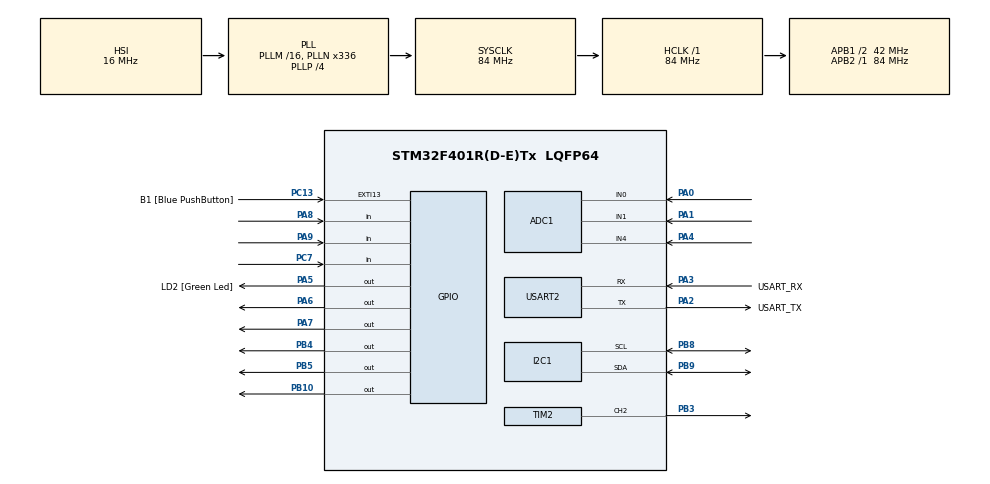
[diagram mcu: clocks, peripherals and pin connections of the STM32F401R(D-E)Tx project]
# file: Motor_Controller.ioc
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ADC1.Channel-0\#ChannelRegularConversion=ADC_CHANNEL_0
ADC1.NbrOfConversionFlag=1
ADC1.Rank-0\#ChannelRegularConversion=1
ADC1.SamplingTime-0\#ChannelRegularConversion=ADC_SAMPLETIME_84CYCLES
ADC1.master=1
Mcu.Family=STM32F4
Mcu.Name=STM32F401R(D-E)Tx
Mcu.Package=LQFP64
NVIC.PriorityGroup=NVIC_PRIORITYGROUP_4
PA0-WKUP.Signal=ADCx_IN0
PA1.Signal=ADCx_IN1
PA13.GPIO_Label=TMS
PA13.Mode=Serial_Wire
PA13.Signal=SYS_JTMS-SWDIO
PA14.GPIO_Label=TCK
PA14.Mode=Serial_Wire
PA14.Signal=SYS_JTCK-SWCLK
PA2.GPIO_Label=USART_TX
PA2.GPIO_Mode=GPIO_MODE_AF_PP
PA2.GPIO_PuPd=GPIO_NOPULL
PA2.GPIO_Speed=GPIO_SPEED_FREQ_LOW
PA2.Mode=Asynchronous
PA2.Signal=USART2_TX
PA3.GPIO_Label=USART_RX
PA3.GPIO_Mode=GPIO_MODE_AF_PP
PA3.GPIO_PuPd=GPIO_NOPULL
PA3.GPIO_Speed=GPIO_SPEED_FREQ_LOW
PA3.Mode=Asynchronous
PA3.Signal=USART2_RX
PA4.Signal=ADCx_IN4
PA5.GPIO_Label=LD2 [Green Led]
PA5.GPIO_Mode=GPIO_MODE_OUTPUT_PP
PA5.GPIO_PuPd=GPIO_NOPULL
PA5.GPIO_Speed=GPIO_SPEED_FREQ_LOW
PA5.Signal=GPIO_Output
PA6.Signal=GPIO_Output
PA7.Signal=GPIO_Output
PA8.GPIO_PuPd=GPIO_PULLUP
PA8.Signal=GPIO_Input
PA9.GPIO_PuPd=GPIO_PULLUP
PA9.Signal=GPIO_Input
PB10.Signal=GPIO_Output
PB3.Signal=S_TIM2_CH2
PB4.Signal=GPIO_Output
PB5.Signal=GPIO_Output
PB8.GPIO_Pu=GPIO_PULLUP
PB8.Mode=I2C
PB8.Signal=I2C1_SCL
PB9.GPIO_Pu=GPIO_PULLUP
PB9.Mode=I2C
PB9.Signal=I2C1_SDA
PC13-ANTI_TAMP.GPIO_Label=B1 [Blue PushButton]
PC13-ANTI_TAMP.GPIO_ModeDefaultEXTI=GPIO_MODE_IT_FALLING
PC13-ANTI_TAMP.GPIO_PuPd=GPIO_NOPULL
PC13-ANTI_TAMP.Signal=GPXTI13
PC14-OSC32_IN.Mode=LSE-External-Oscillator
PC14-OSC32_IN.Signal=RCC_OSC32_IN
PC15-OSC32_OUT.Mode=LSE-External-Oscillator
PC15-OSC32_OUT.Signal=RCC_OSC32_OUT
PC7.GPIO_PuPd=GPIO_PULLUP
PC7.Signal=GPIO_Input
PH0\ -\ OSC_IN.Mode=HSE-External-Clock-Source
PH0\ -\ OSC_IN.Signal=RCC_OSC_IN
PH1\ -\ OSC_OUT.Mode=HSE-External-Clock-Source
PH1\ -\ OSC_OUT.Signal=RCC_OSC_OUT
ProjectManager.HeapSize=0x200
ProjectManager.StackSize=0x400
ProjectManager.TargetToolchain=STM32CubeIDE
RCC.48MHZClocksFreq_Value=48000000
RCC.AHBFreq_Value=84000000
RCC.APB1CLKDivider=RCC_HCLK_DIV2
RCC.APB1Freq_Value=42000000
RCC.APB1TimFreq_Value=84000000
RCC.APB2Freq_Value=84000000
RCC.APB2TimFreq_Value=84000000
RCC.CortexFreq_Value=84000000
RCC.HCLKFreq_Value=84000000
RCC.HSE_VALUE=8000000
RCC.HSI_VALUE=16000000
RCC.PLLN=336
RCC.PLLP=RCC_PLLP_DIV4
RCC.PLLQ=7
RCC.SYSCLKFreq_VALUE=84000000
RCC.SYSCLKSource=RCC_SYSCLKSOURCE_PLLCLK
RCC.VCOOutputFreq_Value=336000000
SH.ADCx_IN0.0=ADC1_IN0,IN0
SH.ADCx_IN1.0=ADC1_IN1,IN1
SH.ADCx_IN4.0=ADC1_IN4,IN4
SH.S_TIM2_CH2.0=TIM2_CH2,PWM Generation2 CH2
TIM2.Channel-PWM\ Generation2\ CH2=TIM_CHANNEL_2
TIM2.Period=99
TIM2.Prescaler=83
USART2.VirtualMode=VM_ASYNC
board=NUCLEO-F401RE

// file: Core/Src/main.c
/* USER CODE BEGIN Header */
/**
  ******************************************************************************
  * @file           : main.c
  * @brief          : Main program body
  ******************************************************************************
  * @attention
  *
  * Copyright (c) 2026 STMicroelectronics.
  * All rights reserved.
  *
  * This software is licensed under terms that can be found in the LICENSE file
  * in the root directory of this software component.
  * If no LICENSE file comes with this software, it is provided AS-IS.
  *
  ******************************************************************************
  */
/* USER CODE END Header */
#include "main.h"

/* USER CODE BEGIN Includes */
#include <stdio.h>
#include <math.h>
#include "font5x7.h"
/* USER CODE END Includes */

ADC_HandleTypeDef hadc1;

I2C_HandleTypeDef hi2c1;

TIM_HandleTypeDef htim2;

UART_HandleTypeDef huart2;

/* USER CODE BEGIN PV */
char uart_buf[150];

uint8_t motor_run = 0;
uint8_t motor_reverse = 0;  // 0 = вперед, 1 = назад

GPIO_PinState old_run_button  = GPIO_PIN_SET;
GPIO_PinState old_stop_button = GPIO_PIN_SET;
GPIO_PinState old_dir_button = GPIO_PIN_SET;

/* USER CODE END PV */

void SystemClock_Config(void);
static void MX_GPIO_Init(void);
static void MX_I2C1_Init(void);
static void MX_USART2_UART_Init(void);
static void MX_ADC1_Init(void);
static void MX_TIM2_Init(void);

/* USER CODE BEGIN 0 */
#define OLED_ADDR (0x3C << 1)

#define POT_ADC_MIN 0
#define POT_ADC_MAX 4095

/* ============================================
   OLED
   ============================================ */

void OLED_Command(uint8_t cmd)
{
    uint8_t data[2];

    data[0] = 0x00;
    data[1] = cmd;

    HAL_I2C_Master_Transmit(&hi2c1,
                            OLED_ADDR,
                            data,
                            2,
                            HAL_MAX_DELAY);
}

void OLED_Init(void)
{
    HAL_Delay(100);

    OLED_Command(0xAE);

    OLED_Command(0xD5);
    OLED_Command(0x80);

    OLED_Command(0xA8);
    OLED_Command(0x3F);

    OLED_Command(0xD3);
    OLED_Command(0x00);

    OLED_Command(0x40);

    OLED_Command(0x8D);
    OLED_Command(0x14);

    /* Page addressing mode */
    OLED_Command(0x20);
    OLED_Command(0x02);

    OLED_Command(0xA1);
    OLED_Command(0xC8);

    OLED_Command(0xDA);
    OLED_Command(0x12);

    OLED_Command(0x81);
    OLED_Command(0xCF);

    OLED_Command(0xD9);
    OLED_Command(0xF1);

    OLED_Command(0xDB);
    OLED_Command(0x40);

    OLED_Command(0xA4);
    OLED_Command(0xA6);

    OLED_Command(0xAF);

    HAL_Delay(100);
}

void OLED_SetCursor(uint8_t x, uint8_t page)
{
    OLED_Command(0xB0 + page);

    OLED_Command(0x00 + (x & 0x0F));
    OLED_Command(0x10 + ((x >> 4) & 0x0F));
}

void OLED_Clear(void)
{
    uint8_t data[129];

    data[0] = 0x40;

    for (int i = 1; i < 129; i++)
    {
        data[i] = 0x00;
    }

    for (uint8_t page = 0; page < 8; page++)
    {
        OLED_SetCursor(0, page);

        HAL_I2C_Master_Transmit(&hi2c1,
                                OLED_ADDR,
                                data,
                                129,
                                HAL_MAX_DELAY);
    }
}

void OLED_WriteChar(char c)
{
    if (c < 32 || c > 126)
    {
        c = '?';
    }

    uint8_t index = (uint8_t)c - 32;

    uint8_t data[7];

    data[0] = 0x40;

    for (uint8_t i = 0; i < 5; i++)
    {
        data[i + 1] = font5x7[index][i];
    }

    data[6] = 0x00;

    HAL_I2C_Master_Transmit(&hi2c1,
                            OLED_ADDR,
                            data,
                            7,
                            HAL_MAX_DELAY);
}

void OLED_WriteString(const char *str)
{
    while (*str)
    {
        OLED_WriteChar(*str);
        str++;
    }
}

/* ============================================
   ADC
   ============================================ */

uint32_t Read_ADC_Channel(uint32_t channel)
{
    ADC_ChannelConfTypeDef sConfig = {0};

    sConfig.Channel = channel;
    sConfig.Rank = 1;
    sConfig.SamplingTime = ADC_SAMPLETIME_84CYCLES;

    HAL_ADC_ConfigChannel(&hadc1, &sConfig);

    HAL_ADC_Start(&hadc1);

    HAL_ADC_PollForConversion(&hadc1,
                              HAL_MAX_DELAY);

    uint32_t value = HAL_ADC_GetValue(&hadc1);

    HAL_ADC_Stop(&hadc1);

    return value;
}

/* ============================================
   NTC
   ============================================ */

float NTC_GetTemperature(uint32_t adc)
{
    if (adc == 0 || adc >= 4095)
    {
        return -100.0f;
    }

    const float R_FIXED = 10000.0f;
    const float R0 = 10000.0f;
    const float BETA = 3950.0f;
    const float T0 = 25.0f + 273.15f;

    float r_ntc =
        R_FIXED *
        ((float)adc /
        (4095.0f - (float)adc));

    float temp_k =
        1.0f /
        ((1.0f / T0) +
         (1.0f / BETA) *
         logf(r_ntc / R0));

    return temp_k - 273.15f;
}

/* ============================================
   POT 0...100 %
   ============================================ */

uint32_t PotToPercent(uint32_t adc)
{
    if (adc <= POT_ADC_MIN)
    {
        return 0;
    }

    if (adc >= POT_ADC_MAX)
    {
        return 100;
    }

    return ((adc - POT_ADC_MIN) * 100UL) /
           (POT_ADC_MAX - POT_ADC_MIN);
}

/* USER CODE END 0 */

int main(void)
{

  /* USER CODE BEGIN 1 */
	uint32_t Read_ADC_Channel(uint32_t channel)
	{
	    ADC_ChannelConfTypeDef sConfig = {0};

	    sConfig.Channel = channel;
	    sConfig.Rank = 1;
	    sConfig.SamplingTime = ADC_SAMPLETIME_84CYCLES;

	    HAL_ADC_ConfigChannel(&hadc1, &sConfig);

	    HAL_ADC_Start(&hadc1);
	    HAL_ADC_PollForConversion(&hadc1, HAL_MAX_DELAY);

	    uint32_t value = HAL_ADC_GetValue(&hadc1);

	    HAL_ADC_Stop(&hadc1);

	    return value;
	}
	float NTC_GetTemperature(uint32_t adc)
	{
	    if (adc == 0 || adc >= 4095)
	        return -100.0f;

	    const float R_FIXED = 10000.0f;
	    const float R0 = 10000.0f;
	    const float BETA = 3950.0f;
	    const float T0 = 25.0f + 273.15f;

	    float r_ntc = R_FIXED * ((float)adc / (4095.0f - (float)adc));

	    float temp_k = 1.0f /
	        ((1.0f / T0) + (1.0f / BETA) * logf(r_ntc / R0));

	    return temp_k - 273.15f;
	}
  /* USER CODE END 1 */

  /* MCU Configuration--------------------------------------------------------*/

  /* Reset of all peripherals, Initializes the Flash interface and the Systick. */
  HAL_Init();

  /* Configure the system clock */
  SystemClock_Config();

  /* Initialize all configured peripherals */
  MX_GPIO_Init();
  MX_I2C1_Init();
  MX_USART2_UART_Init();
  MX_ADC1_Init();
  MX_TIM2_Init();
  /* USER CODE BEGIN 2 */
  /* USER CODE BEGIN 2 */
  OLED_Init();
  OLED_Clear();

  motor_run = 0;
  motor_reverse = 0;
  /* LED: стартуем в STOP */
  HAL_GPIO_WritePin(GPIOB, GPIO_PIN_5,  GPIO_PIN_RESET); // GREEN OFF
  HAL_GPIO_WritePin(GPIOB, GPIO_PIN_4,  GPIO_PIN_RESET); // YELLOW OFF
  HAL_GPIO_WritePin(GPIOB, GPIO_PIN_10, GPIO_PIN_SET);   // RED ON

  /* L298N: мотор остановлен */
  HAL_GPIO_WritePin(GPIOA, GPIO_PIN_7, GPIO_PIN_RESET);  // IN3
  HAL_GPIO_WritePin(GPIOA, GPIO_PIN_6, GPIO_PIN_RESET);  // IN4

  /* Запускаем PWM D3 / PB3 / TIM2_CH2 */
  HAL_TIM_PWM_Start(&htim2, TIM_CHANNEL_2);

  __HAL_TIM_SET_COMPARE(&htim2, TIM_CHANNEL_2, 0);

  /* USER CODE END 2 */

  /* Infinite loop */
  /* USER CODE BEGIN WHILE */
  while (1)
  {
	  /* =========================
	         BUTTONS
	         ========================= */

	      GPIO_PinState run_button =
	          HAL_GPIO_ReadPin(GPIOA, GPIO_PIN_8);   // D7

	      GPIO_PinState stop_button =
	          HAL_GPIO_ReadPin(GPIOA, GPIO_PIN_9);   // D8

	      GPIO_PinState dir_button =
	          HAL_GPIO_ReadPin(GPIOC, GPIO_PIN_7);   // D9

	      /* =========================
	         RUN
	         ========================= */

	      if ((run_button == GPIO_PIN_RESET) &&
	          (old_run_button == GPIO_PIN_SET))
	      {
	          motor_run = 1;

	          HAL_Delay(30);
	      }

	      /* =========================
	         STOP
	         ========================= */

	      if ((stop_button == GPIO_PIN_RESET) &&
	          (old_stop_button == GPIO_PIN_SET))
	      {
	          motor_run = 0;

	          HAL_Delay(30);
	      }

	      /* =========================
	         DIRECTION
	         ========================= */

	      if ((dir_button == GPIO_PIN_RESET) &&
	          (old_dir_button == GPIO_PIN_SET))
	      {
	          /*
	           * Сначала убираем PWM,
	           * чтобы не менять направление
	           * на полном ходу.
	           */
	          __HAL_TIM_SET_COMPARE(&htim2,
	                                TIM_CHANNEL_2,
	                                0);

	          HAL_Delay(150);

	          motor_reverse =
	              !motor_reverse;
	      }

	      old_run_button  = run_button;
	      old_stop_button = stop_button;
	      old_dir_button  = dir_button;

	      /* =========================
	         ADC
	         ========================= */

	      uint32_t pot_adc =
	          Read_ADC_Channel(ADC_CHANNEL_0);

	      uint32_t ntc1_adc =
	          Read_ADC_Channel(ADC_CHANNEL_1);

	      uint32_t ntc2_adc =
	          Read_ADC_Channel(ADC_CHANNEL_4);

	      /* =========================
	         POT 0...100 %
	         ========================= */

	      uint32_t set_percent =
	          PotToPercent(pot_adc);

	      /* TIM2 Period = 99 */
	      uint32_t pwm_value =
	          (set_percent * 99UL) / 100UL;

	      /* =========================
	         TEMPERATURE
	         ========================= */

	      float temp1 =
	          NTC_GetTemperature(ntc1_adc);

	      float temp2 =
	          NTC_GetTemperature(ntc2_adc);

	      /* =========================
	         MOTOR CONTROL
	         ========================= */

	      if (motor_run && set_percent > 0)
	      {
	          if (motor_reverse == 0)
	          {
	              /* FORWARD */

	              HAL_GPIO_WritePin(GPIOA,
	                                GPIO_PIN_7,
	                                GPIO_PIN_SET);    // IN3 = 1

	              HAL_GPIO_WritePin(GPIOA,
	                                GPIO_PIN_6,
	                                GPIO_PIN_RESET);  // IN4 = 0
	          }
	          else
	          {
	              /* REVERSE */

	              HAL_GPIO_WritePin(GPIOA,
	                                GPIO_PIN_7,
	                                GPIO_PIN_RESET);  // IN3 = 0

	              HAL_GPIO_WritePin(GPIOA,
	                                GPIO_PIN_6,
	                                GPIO_PIN_SET);    // IN4 = 1
	          }

	          __HAL_TIM_SET_COMPARE(&htim2,
	                                TIM_CHANNEL_2,
	                                pwm_value);
	      }
	      else
	      {
	          /* STOP */

	          __HAL_TIM_SET_COMPARE(&htim2,
	                                TIM_CHANNEL_2,
	                                0);

	          HAL_GPIO_WritePin(GPIOA,
	                            GPIO_PIN_7,
	                            GPIO_PIN_RESET);

	          HAL_GPIO_WritePin(GPIOA,
	                            GPIO_PIN_6,
	                            GPIO_PIN_RESET);
	      }

	      /* =========================
	         LED
	         ========================= */

	      if (motor_run)
	      {
	          /* GREEN = RUN */
	          HAL_GPIO_WritePin(GPIOB,
	                            GPIO_PIN_5,
	                            GPIO_PIN_SET);

	          /* RED OFF */
	          HAL_GPIO_WritePin(GPIOB,
	                            GPIO_PIN_10,
	                            GPIO_PIN_RESET);
	      }
	      else
	      {
	          /* GREEN OFF */
	          HAL_GPIO_WritePin(GPIOB,
	                            GPIO_PIN_5,
	                            GPIO_PIN_RESET);

	          /* RED = STOP */
	          HAL_GPIO_WritePin(GPIOB,
	                            GPIO_PIN_10,
	                            GPIO_PIN_SET);
	      }

	      /*
	       * YELLOW = REVERSE
	       */

	      if (motor_reverse)
	      {
	          HAL_GPIO_WritePin(GPIOB,
	                            GPIO_PIN_4,
	                            GPIO_PIN_SET);
	      }
	      else
	      {
	          HAL_GPIO_WritePin(GPIOB,
	                            GPIO_PIN_4,
	                            GPIO_PIN_RESET);
	      }

	      /* =========================
	         OLED
	         ========================= */

	      char line[22];

	      /* SET */

	      OLED_SetCursor(0, 0);

	      snprintf(line,
	               sizeof(line),
	               "SET: %3lu %%       ",
	               (unsigned long)set_percent);

	      OLED_WriteString(line);

	      /* T1 */

	      OLED_SetCursor(0, 2);

	      snprintf(line,
	               sizeof(line),
	               "T1: %3d C          ",
	               (int)temp1);

	      OLED_WriteString(line);

	      /* T2 */

	      OLED_SetCursor(0, 4);

	      snprintf(line,
	               sizeof(line),
	               "T2: %3d C          ",
	               (int)temp2);

	      OLED_WriteString(line);

	      /* STATE */

	      OLED_SetCursor(0, 6);

	      if (motor_run)
	      {
	          OLED_WriteString(
	              "STATE: RUN          ");
	      }
	      else
	      {
	          OLED_WriteString(
	              "STATE: STOP         ");
	      }

	      /* DIRECTION */

	      OLED_SetCursor(0, 7);

	      if (motor_reverse)
	      {
	          OLED_WriteString(
	              "DIR: REVERSE        ");
	      }
	      else
	      {
	          OLED_WriteString(
	              "DIR: FORWARD        ");
	      }

	      /* =========================
	         UART / PuTTY
	         ========================= */

	      int len =
	          snprintf(
	              uart_buf,
	              sizeof(uart_buf),

	              "SET=%lu%% PWM=%lu/99 "
	              "T1=%d C T2=%d C "
	              "STATE=%s DIR=%s\r\n",

	              (unsigned long)set_percent,
	              (unsigned long)pwm_value,

	              (int)temp1,
	              (int)temp2,

	              motor_run ? "RUN" : "STOP",

	              motor_reverse ?
	              "REVERSE" : "FORWARD"
	          );

	      HAL_UART_Transmit(
	          &huart2,
	          (uint8_t *)uart_buf,
	          len,
	          HAL_MAX_DELAY
	      );

	      HAL_Delay(100);
    /* USER CODE END WHILE */

    /* USER CODE BEGIN 3 */
  }

    /* USER CODE END WHILE */

    /* USER CODE BEGIN 3 */

  /* USER CODE END 3 */
}

void SystemClock_Config(void)
{
  RCC_OscInitTypeDef RCC_OscInitStruct = {0};
  RCC_ClkInitTypeDef RCC_ClkInitStruct = {0};

  /** Configure the main internal regulator output voltage
  */
  __HAL_RCC_PWR_CLK_ENABLE();
  __HAL_PWR_VOLTAGESCALING_CONFIG(PWR_REGULATOR_VOLTAGE_SCALE2);

  /** Initializes the RCC Oscillators according to the specified parameters
  * in the RCC_OscInitTypeDef structure.
  */
  RCC_OscInitStruct.OscillatorType = RCC_OSCILLATORTYPE_HSI;
  RCC_OscInitStruct.HSIState = RCC_HSI_ON;
  RCC_OscInitStruct.HSICalibrationValue = RCC_HSICALIBRATION_DEFAULT;
  RCC_OscInitStruct.PLL.PLLState = RCC_PLL_ON;
  RCC_OscInitStruct.PLL.PLLSource = RCC_PLLSOURCE_HSI;
  RCC_OscInitStruct.PLL.PLLM = 16;
  RCC_OscInitStruct.PLL.PLLN = 336;
  RCC_OscInitStruct.PLL.PLLP = RCC_PLLP_DIV4;
  RCC_OscInitStruct.PLL.PLLQ = 7;
  if (HAL_RCC_OscConfig(&RCC_OscInitStruct) != HAL_OK)
  {
    Error_Handler();
  }

  /** Initializes the CPU, AHB and APB buses clocks
  */
  RCC_ClkInitStruct.ClockType = RCC_CLOCKTYPE_HCLK|RCC_CLOCKTYPE_SYSCLK
                              |RCC_CLOCKTYPE_PCLK1|RCC_CLOCKTYPE_PCLK2;
  RCC_ClkInitStruct.SYSCLKSource = RCC_SYSCLKSOURCE_PLLCLK;
  RCC_ClkInitStruct.AHBCLKDivider = RCC_SYSCLK_DIV1;
  RCC_ClkInitStruct.APB1CLKDivider = RCC_HCLK_DIV2;
  RCC_ClkInitStruct.APB2CLKDivider = RCC_HCLK_DIV1;

  if (HAL_RCC_ClockConfig(&RCC_ClkInitStruct, FLASH_LATENCY_2) != HAL_OK)
  {
    Error_Handler();
  }
}

static void MX_ADC1_Init(void)
{

  ADC_ChannelConfTypeDef sConfig = {0};

  /** Configure the global features of the ADC (Clock, Resolution, Data Alignment and number of conversion)
  */
  hadc1.Instance = ADC1;
  hadc1.Init.ClockPrescaler = ADC_CLOCK_SYNC_PCLK_DIV4;
  hadc1.Init.Resolution = ADC_RESOLUTION_12B;
  hadc1.Init.ScanConvMode = DISABLE;
  hadc1.Init.ContinuousConvMode = DISABLE;
  hadc1.Init.DiscontinuousConvMode = DISABLE;
  hadc1.Init.ExternalTrigConvEdge = ADC_EXTERNALTRIGCONVEDGE_NONE;
  hadc1.Init.ExternalTrigConv = ADC_SOFTWARE_START;
  hadc1.Init.DataAlign = ADC_DATAALIGN_RIGHT;
  hadc1.Init.NbrOfConversion = 1;
  hadc1.Init.DMAContinuousRequests = DISABLE;
  hadc1.Init.EOCSelection = ADC_EOC_SINGLE_CONV;
  if (HAL_ADC_Init(&hadc1) != HAL_OK)
  {
    Error_Handler();
  }

  /** Configure for the selected ADC regular channel its corresponding rank in the sequencer and its sample time.
  */
  sConfig.Channel = ADC_CHANNEL_0;
  sConfig.Rank = 1;
  sConfig.SamplingTime = ADC_SAMPLETIME_84CYCLES;
  if (HAL_ADC_ConfigChannel(&hadc1, &sConfig) != HAL_OK)
  {
    Error_Handler();
  }

}

static void MX_I2C1_Init(void)
{

  hi2c1.Instance = I2C1;
  hi2c1.Init.ClockSpeed = 100000;
  hi2c1.Init.DutyCycle = I2C_DUTYCYCLE_2;
  hi2c1.Init.OwnAddress1 = 0;
  hi2c1.Init.AddressingMode = I2C_ADDRESSINGMODE_7BIT;
  hi2c1.Init.DualAddressMode = I2C_DUALADDRESS_DISABLE;
  hi2c1.Init.OwnAddress2 = 0;
  hi2c1.Init.GeneralCallMode = I2C_GENERALCALL_DISABLE;
  hi2c1.Init.NoStretchMode = I2C_NOSTRETCH_DISABLE;
  if (HAL_I2C_Init(&hi2c1) != HAL_OK)
  {
    Error_Handler();
  }

}

static void MX_TIM2_Init(void)
{

  TIM_MasterConfigTypeDef sMasterConfig = {0};
  TIM_OC_InitTypeDef sConfigOC = {0};

  htim2.Instance = TIM2;
  htim2.Init.Prescaler = 83;
  htim2.Init.CounterMode = TIM_COUNTERMODE_UP;
  htim2.Init.Period = 99;
  htim2.Init.ClockDivision = TIM_CLOCKDIVISION_DIV1;
  htim2.Init.AutoReloadPreload = TIM_AUTORELOAD_PRELOAD_DISABLE;
  if (HAL_TIM_PWM_Init(&htim2) != HAL_OK)
  {
    Error_Handler();
  }
  sMasterConfig.MasterOutputTrigger = TIM_TRGO_RESET;
  sMasterConfig.MasterSlaveMode = TIM_MASTERSLAVEMODE_DISABLE;
  if (HAL_TIMEx_MasterConfigSynchronization(&htim2, &sMasterConfig) != HAL_OK)
  {
    Error_Handler();
  }
  sConfigOC.OCMode = TIM_OCMODE_PWM1;
  sConfigOC.Pulse = 0;
  sConfigOC.OCPolarity = TIM_OCPOLARITY_HIGH;
  sConfigOC.OCFastMode = TIM_OCFAST_DISABLE;
  if (HAL_TIM_PWM_ConfigChannel(&htim2, &sConfigOC, TIM_CHANNEL_2) != HAL_OK)
  {
    Error_Handler();
  }
  HAL_TIM_MspPostInit(&htim2);

}

static void MX_USART2_UART_Init(void)
{

  huart2.Instance = USART2;
  huart2.Init.BaudRate = 115200;
  huart2.Init.WordLength = UART_WORDLENGTH_8B;
  huart2.Init.StopBits = UART_STOPBITS_1;
  huart2.Init.Parity = UART_PARITY_NONE;
  huart2.Init.Mode = UART_MODE_TX_RX;
  huart2.Init.HwFlowCtl = UART_HWCONTROL_NONE;
  huart2.Init.OverSampling = UART_OVERSAMPLING_16;
  if (HAL_UART_Init(&huart2) != HAL_OK)
  {
    Error_Handler();
  }

}

static void MX_GPIO_Init(void)
{
  GPIO_InitTypeDef GPIO_InitStruct = {0};

  /* GPIO Ports Clock Enable */
  __HAL_RCC_GPIOC_CLK_ENABLE();
  __HAL_RCC_GPIOH_CLK_ENABLE();
  __HAL_RCC_GPIOA_CLK_ENABLE();
  __HAL_RCC_GPIOB_CLK_ENABLE();

  /*Configure GPIO pin Output Level */
  HAL_GPIO_WritePin(GPIOA, LD2_Pin|GPIO_PIN_6|GPIO_PIN_7, GPIO_PIN_RESET);

  /*Configure GPIO pin Output Level */
  HAL_GPIO_WritePin(GPIOB, GPIO_PIN_10|GPIO_PIN_4|GPIO_PIN_5, GPIO_PIN_RESET);

  /*Configure GPIO pin : B1_Pin */
  GPIO_InitStruct.Pin = B1_Pin;
  GPIO_InitStruct.Mode = GPIO_MODE_IT_FALLING;
  GPIO_InitStruct.Pull = GPIO_NOPULL;
  HAL_GPIO_Init(B1_GPIO_Port, &GPIO_InitStruct);

  /*Configure GPIO pins : LD2_Pin PA6 PA7 */
  GPIO_InitStruct.Pin = LD2_Pin|GPIO_PIN_6|GPIO_PIN_7;
  GPIO_InitStruct.Mode = GPIO_MODE_OUTPUT_PP;
  GPIO_InitStruct.Pull = GPIO_NOPULL;
  GPIO_InitStruct.Speed = GPIO_SPEED_FREQ_LOW;
  HAL_GPIO_Init(GPIOA, &GPIO_InitStruct);

  /*Configure GPIO pins : PB10 PB4 PB5 */
  GPIO_InitStruct.Pin = GPIO_PIN_10|GPIO_PIN_4|GPIO_PIN_5;
  GPIO_InitStruct.Mode = GPIO_MODE_OUTPUT_PP;
  GPIO_InitStruct.Pull = GPIO_NOPULL;
  GPIO_InitStruct.Speed = GPIO_SPEED_FREQ_LOW;
  HAL_GPIO_Init(GPIOB, &GPIO_InitStruct);

  /*Configure GPIO pin : PC7 */
  GPIO_InitStruct.Pin = GPIO_PIN_7;
  GPIO_InitStruct.Mode = GPIO_MODE_INPUT;
  GPIO_InitStruct.Pull = GPIO_PULLUP;
  HAL_GPIO_Init(GPIOC, &GPIO_InitStruct);

  /*Configure GPIO pins : PA8 PA9 */
  GPIO_InitStruct.Pin = GPIO_PIN_8|GPIO_PIN_9;
  GPIO_InitStruct.Mode = GPIO_MODE_INPUT;
  GPIO_InitStruct.Pull = GPIO_PULLUP;
  HAL_GPIO_Init(GPIOA, &GPIO_InitStruct);

}

void Error_Handler(void)
{
  /* USER CODE BEGIN Error_Handler_Debug */
  /* User can add his own implementation to report the HAL error return state */
  __disable_irq();
  while (1)
  {
	  // Зеленый
	  	  GPIO_PinState run  = HAL_GPIO_ReadPin(GPIOA, GPIO_PIN_8);
	      GPIO_PinState stop = HAL_GPIO_ReadPin(GPIOA, GPIO_PIN_9);
	      GPIO_PinState mode = HAL_GPIO_ReadPin(GPIOC, GPIO_PIN_7);

	      int len = snprintf(uart_buf,
	                         sizeof(uart_buf),
	                         "RUN=%d  STOP=%d  MODE=%d\r\n",
	                         run,
	                         stop,
	                         mode);

	      HAL_UART_Transmit(&huart2,
	                        (uint8_t *)uart_buf,
	                        len,
	                        HAL_MAX_DELAY);

	      HAL_Delay(200);
	  }
  /* USER CODE END Error_Handler_Debug */
}
